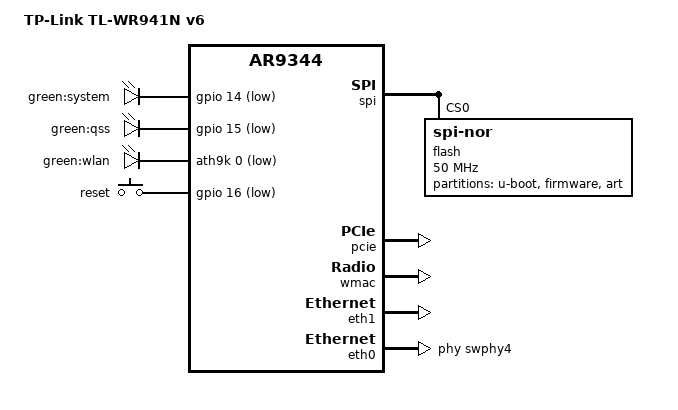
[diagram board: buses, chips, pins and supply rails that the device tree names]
// SPDX-License-Identifier: GPL-2.0-or-later OR MIT

#include "ar9344.dtsi"

#include <dt-bindings/gpio/gpio.h>
#include <dt-bindings/input/input.h>

/ {
	compatible = "tplink,tl-wdr3500-v1", "qca,ar9344";
	model = "TP-Link TL-WR941N v6";

	aliases {
		label-mac-device = &wmac;
		led-boot = &led_system;
		led-failsafe = &led_system;
		led-running = &led_system;
		led-upgrade = &led_system;
	};

	leds: leds {
		compatible = "gpio-leds";

		led_system: system {
			label = "green:system";
			gpios = <&gpio 14 GPIO_ACTIVE_LOW>;
		};

		qss {
			label = "green:qss";
			gpios = <&gpio 15 GPIO_ACTIVE_LOW>;
		};
/*
		wlan {
			label = "green:wlan";
			gpios = <&gpio 13 GPIO_ACTIVE_LOW>;
			linux,default-trigger = "phy0tpt";
		};
*/
	};

	ath9k-leds {
		compatible = "gpio-leds";

		wlan {
			label = "green:wlan";
			gpios = <&ath9k 0 GPIO_ACTIVE_LOW>;
			linux,default-trigger = "phy1tpt";
		};
	};

	keys {
		compatible = "gpio-keys";

		reset {
			linux,code = <KEY_RESTART>;
			gpios = <&gpio 16 GPIO_ACTIVE_LOW>;
		};
	};
};
/*
&ref {
	clock-frequency = <40000000>;
};
*/
&spi {
	status = "okay";

	flash@0 {
		compatible = "jedec,spi-nor";
		reg = <0>;
		spi-max-frequency = <50000000>;

		partitions {
			compatible = "fixed-partitions";
			#address-cells = <1>;
			#size-cells = <1>;

			uboot: partition@0 {
				label = "u-boot";
				reg = <0x000000 0x020000>;
				read-only;
			};

			partition@20000 {
				compatible = "tplink,firmware";
				label = "firmware";
				reg = <0x020000 0x7d0000>;
			};

			art: partition@7f0000 {
				label = "art";
				reg = <0x7f0000 0x010000>;
				read-only;
			};
		};
	};
};

&pinmux {
	pmx_led_wan_lan: pinmux_led_wan_lan {
		pinctrl-single,bits = <0x10 0x2c2d0000 0xffff0000>,
			<0x14 0x292a2b 0xffffff>;
	};
};

&builtin_switch {
	pinctrl-names = "default";
	pinctrl-0 = <&pmx_led_wan_lan>;
};

&pcie {
	status = "okay";

	ath9k: wifi@0,0 {
		reg = <0x0000 0 0 0 0>;
		qca,no-eeprom;
		#gpio-cells = <2>;
		gpio-controller;
	};
};

&wmac {
	mtd-mac-address = <&uboot 0x1fc00>;
};

&eth1 {
	status = "okay";

	mtd-mac-address = <&uboot 0x1fc00>;
	mtd-mac-address-increment = <(-1)>;

	gmac-config {
		device = <&gmac>;
		switch-phy-swap = <0>;
		switch-only-mode = <1>;
	};
};

&eth0 {
	status = "okay";

	phy-handle = <&swphy4>;

	mtd-mac-address = <&uboot 0x1fc00>;
	mtd-mac-address-increment = <2>;
};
